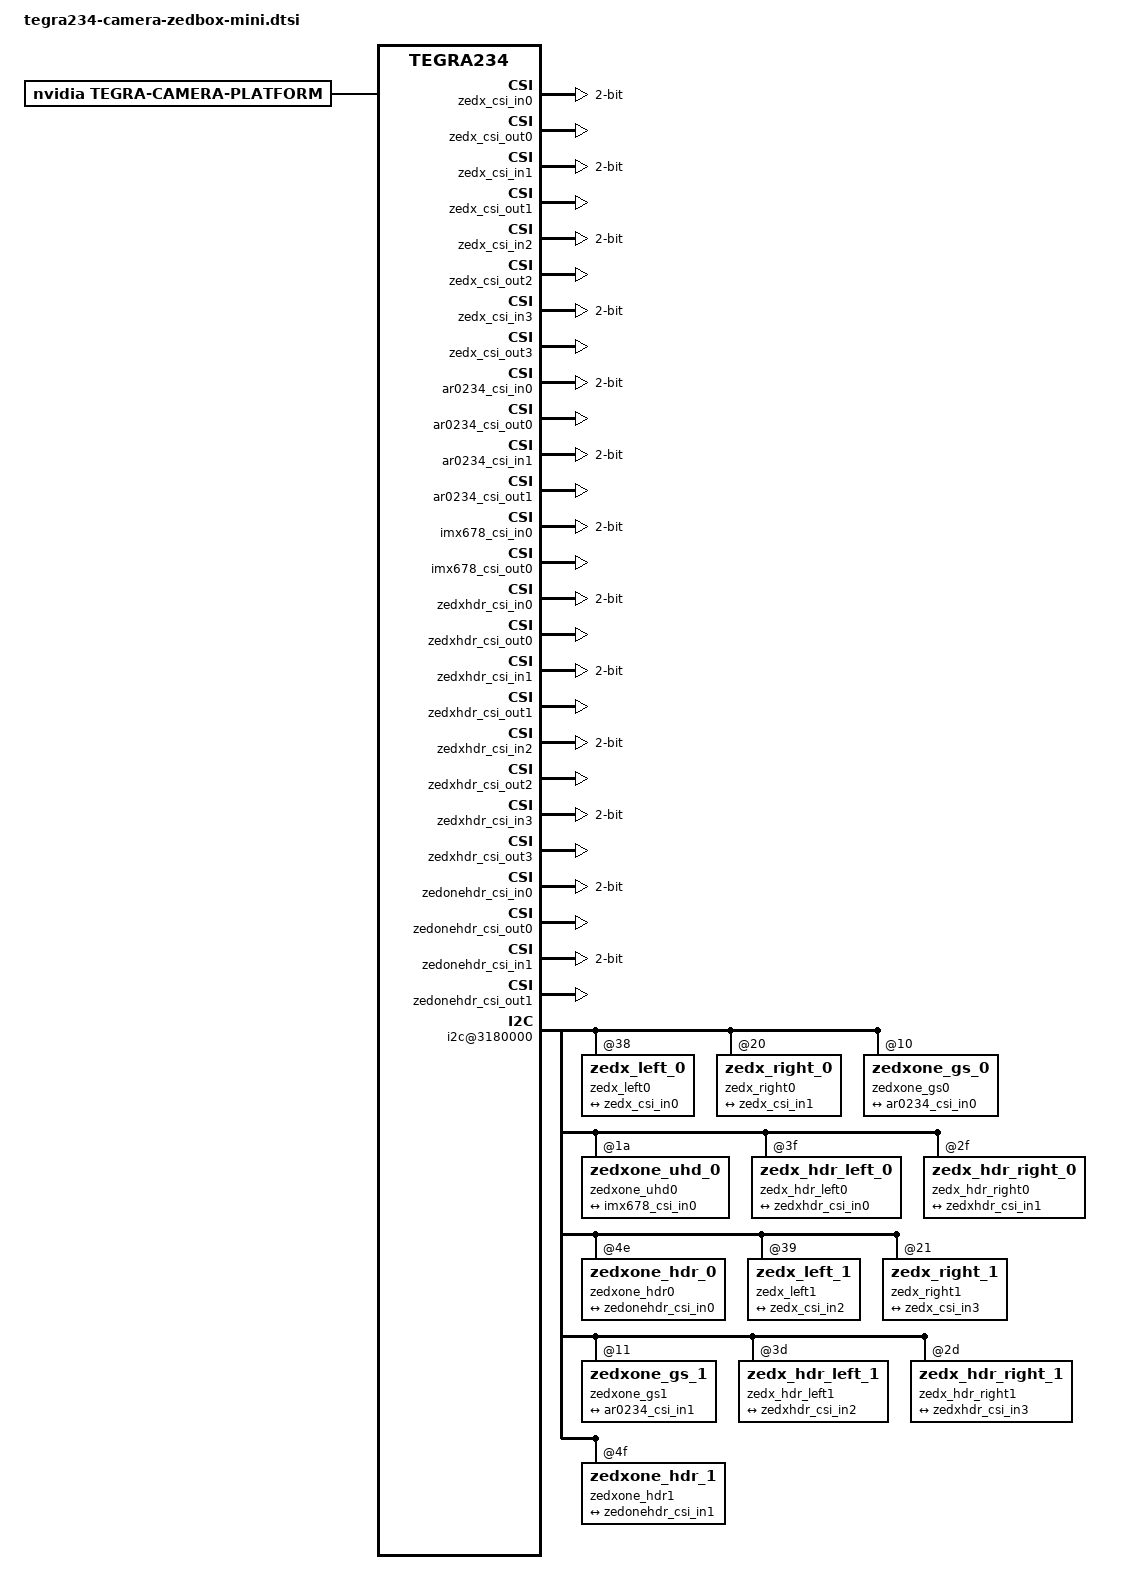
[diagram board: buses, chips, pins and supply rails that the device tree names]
// SPDX-License-Identifier: GPL-2.0-only
// SPDX-FileCopyrightText: Copyright (c) 2023-2024, NVIDIA CORPORATION & AFFILIATES. All rights reserved.

#include "Utils/isx031-sl-modes.dtsi"
#include "Utils/ar0234-sl-modes.dtsi"
#include "Utils/imx678-sl-modes.dtsi"

#define NUM_LANES 2

/ {
#ifdef BUILDOVERLAY
	fragment-camera-zedx-streamer@0 {
		target-path = "/";
		__overlay__ {
#endif
			tegra-capture-vi {
				num-channels = <13>;
				ports {
					#address-cells = <1>;
					#size-cells = <0>;
					port@0 {
						reg = <0>;
						status = "okay";
						zedx_vi_in0: endpoint {
							status = "okay";
							vc-id = <0>;
							port-index = <0>;
							bus-width = <NUM_LANES>;
							remote-endpoint = <&zedx_csi_out0>;
						};
					};
					port@1 {
						reg = <1>;
						status = "okay";
						zedx_vi_in1: endpoint {
							status = "okay";
							vc-id = <1>;
							port-index = <0>;
							bus-width = <NUM_LANES>;
							remote-endpoint = <&zedx_csi_out1>;
						};
					};
					port@2 {
						reg = <2>;
						status = "okay";
						zedx_vi_in2: endpoint {
							status = "okay";
							vc-id = <0>;
							port-index = <2>;
							bus-width = <NUM_LANES>;
							remote-endpoint = <&zedx_csi_out2>;
						};
					};
					port@3 {
						reg = <3>;
						status = "okay";
						zedx_vi_in3: endpoint {
							status = "okay";
							vc-id = <1>;
							port-index = <2>;
							bus-width = <NUM_LANES>;
							remote-endpoint = <&zedx_csi_out3>;
						};
					};
					port@4 {
						reg = <4>;
						status = "okay";
						ar0234_vi_in0: endpoint {
							status = "okay";
							vc-id = <0>;
							port-index = <0>;
							bus-width = <NUM_LANES>;
							remote-endpoint = <&ar0234_csi_out0>;
						};
					};
					port@5 {
						reg = <5>;
						status = "okay";
						ar0234_vi_in1: endpoint {
							status = "okay";
							vc-id = <0>;
							port-index = <2>;
							bus-width = <NUM_LANES>;
							remote-endpoint = <&ar0234_csi_out1>;
						};
					};
					port@6 {
						reg = <6>;
						status = "okay";
						imx678_vi_in0: endpoint {
							status = "okay";
							vc-id = <0>;
							port-index = <0>;
							bus-width = <NUM_LANES>;
							remote-endpoint = <&imx678_csi_out0>;
						};
					};
					port@7 {
						reg = <7>;
						status = "okay";
						zedxhdr_vi_in0: endpoint {
							status = "okay";
							vc-id = <0>;
							port-index = <0>;
							bus-width = <NUM_LANES>;
							remote-endpoint = <&zedxhdr_csi_out0>;
						};
					};
					port@8 {
						reg = <8>;
						status = "okay";
						zedxhdr_vi_in1: endpoint {
							status = "okay";
							vc-id = <1>;
							port-index = <0>;
							bus-width = <NUM_LANES>;
							remote-endpoint = <&zedxhdr_csi_out1>;
						};
					};
					port@9 {
						reg = <9>;
						status = "okay";
						zedxhdr_vi_in2: endpoint {
							status = "okay";
							vc-id = <0>;
							port-index = <2>;
							bus-width = <NUM_LANES>;
							remote-endpoint = <&zedxhdr_csi_out2>;
						};
					};
					port@10 {
						reg = <10>;
						status = "okay";
						zedxhdr_vi_in3: endpoint {
							status = "okay";
							vc-id = <1>;
							port-index = <2>;
							bus-width = <NUM_LANES>;
							remote-endpoint = <&zedxhdr_csi_out3>;
						};
					};
					port@11 {
						reg = <11>;
						status = "okay";
						zedonehdr_vi_in0: endpoint {
							status = "okay";
							vc-id = <0>;
							port-index = <0>;
							bus-width = <NUM_LANES>;
							remote-endpoint = <&zedonehdr_csi_out0>;
						};
					};
					port@12 {
						reg = <12>;
						status = "okay";
						zedonehdr_vi_in1: endpoint {
							status = "okay";
							vc-id = <0>;
							port-index = <2>;
							bus-width = <NUM_LANES>;
							remote-endpoint = <&zedonehdr_csi_out1>;
						};
					};
					
				};
			};
			bus@0 {
				host1x@13e00000 {
					nvcsi@15a00000 {
						num-channels = <13>;
						#address-cells = <1>;
						#size-cells = <0>;
						channel@0 {
							reg = <0>;
							status = "okay";
							ports {
								#address-cells = <1>;
								#size-cells = <0>;
								port@0 {
									reg = <0>;
									status = "okay";
									zedx_csi_in0: endpoint@0 {
										status = "okay";
										port-index = <0>;
										bus-width = <NUM_LANES>;
										remote-endpoint = <&zedx_ar0234_out0>;
									};
								};
								port@1 {
									reg = <1>;
									status = "okay";
									zedx_csi_out0: endpoint@1 {
										status = "okay";
										remote-endpoint = <&zedx_vi_in0>;
									};
								};
							};
						};
						channel@1 {
							reg = <1>;
							status = "okay";
							ports {
								#address-cells = <1>;
								#size-cells = <0>;
								port@0 {
									reg = <0>;
									status = "okay";
									zedx_csi_in1: endpoint@2 {
										status = "okay";
										port-index = <0>;
										bus-width = <NUM_LANES>;
										remote-endpoint = <&zedx_ar0234_out1>;
									};
								};
								port@1 {
									reg = <1>;
									status = "okay";
									zedx_csi_out1: endpoint@3 {
										status = "okay";
										remote-endpoint = <&zedx_vi_in1>;
									};
								};
							};
						};
						channel@2 {
							reg = <2>;
							status = "okay";
							ports {
								#address-cells = <1>;
								#size-cells = <0>;
								port@0 {
									reg = <0>;
									status = "okay";
									zedx_csi_in2: endpoint@4 {
										status = "okay";
										port-index = <2>;
										bus-width = <NUM_LANES>;
										remote-endpoint = <&zedx_ar0234_out2>;
									};
								};
								port@1 {
									reg = <1>;
									status = "okay";
									zedx_csi_out2: endpoint@5 {
										status = "okay";
										remote-endpoint = <&zedx_vi_in2>;
									};
								};
							};
						};
						channel@3 {
							reg = <3>;
							status = "okay";
							ports {
								#address-cells = <1>;
								#size-cells = <0>;
								port@0 {
									reg = <0>;
									status = "okay";
									zedx_csi_in3: endpoint@6 {
										status = "okay";
										port-index = <2>;
										bus-width = <NUM_LANES>;
										remote-endpoint = <&zedx_ar0234_out3>;
									};
								};
								port@1 {
									reg = <1>;
									status = "okay";
									zedx_csi_out3: endpoint@7 {
										status = "okay";
										remote-endpoint = <&zedx_vi_in3>;
									};
								};
							};
						};
						channel@4 {
							reg = <4>;
							status = "okay";
							ports {
								#address-cells = <1>;
								#size-cells = <0>;
								port@0 {
									reg = <0>;
									status = "okay";
									ar0234_csi_in0: endpoint@8 {
										status = "okay";
										port-index = <0>;
										bus-width = <NUM_LANES>;
										remote-endpoint = <&ar0234_ar0234_out0>;
									};
								};
								port@1 {
									reg = <1>;
									status = "okay";
									ar0234_csi_out0: endpoint@9 {
										status = "okay";
										remote-endpoint = <&ar0234_vi_in0>;
									};
								};
							};
						};
						channel@5 {
							reg = <5>;
							status = "okay";
							ports {
								#address-cells = <1>;
								#size-cells = <0>;
								port@0 {
									reg = <0>;
									status = "okay";
									ar0234_csi_in1: endpoint@10 {
										status = "okay";
										port-index = <2>;
										bus-width = <NUM_LANES>;
										remote-endpoint = <&ar0234_ar0234_out1>;
									};
								};
								port@1 {
									reg = <1>;
									status = "okay";
									ar0234_csi_out1: endpoint@11 {
										status = "okay";
										remote-endpoint = <&ar0234_vi_in1>;
									};
								};
							};
						};
						channel@6 {
							reg = <6>;
							status = "okay";
							ports {
								#address-cells = <1>;
								#size-cells = <0>;
								port@0 {
									reg = <0>;
									status = "okay";
									imx678_csi_in0: endpoint@12 {
										status = "okay";
										port-index = <0>;
										bus-width = <NUM_LANES>;
										remote-endpoint = <&imx678_imx678_out0>;
									};
								};
								port@1 {
									reg = <1>;
									status = "okay";
									imx678_csi_out0: endpoint@13 {
										status = "okay";
										remote-endpoint = <&imx678_vi_in0>;
									};
								};
							};
						};
						channel@7 {
							reg = <7>;
							status = "okay";
							ports {
								#address-cells = <1>;
								#size-cells = <0>;
								port@0 {
									reg = <0>;
									status = "okay";
									zedxhdr_csi_in0: endpoint@14 {
										status = "okay";
										port-index = <0>;
										bus-width = <NUM_LANES>;
										remote-endpoint = <&zedxhdr_isx031_out0>;
									};
								};
								port@1 {
									reg = <1>;
									status = "okay";
									zedxhdr_csi_out0: endpoint@15 {
										status = "okay";
										remote-endpoint = <&zedxhdr_vi_in0>;
									};
								};
							};
						};
						channel@8 {
							reg = <8>;
							status = "okay";
							ports {
								#address-cells = <1>;
								#size-cells = <0>;
								port@0 {
									reg = <0>;
									status = "okay";
									zedxhdr_csi_in1: endpoint@16 {
										status = "okay";
										port-index = <0>;
										bus-width = <NUM_LANES>;
										remote-endpoint = <&zedxhdr_isx031_out1>;
									};
								};
								port@1 {
									reg = <1>;
									status = "okay";
									zedxhdr_csi_out1: endpoint@17 {
										status = "okay";
										remote-endpoint = <&zedxhdr_vi_in1>;
									};
								};
							};
						};
						channel@9 {
							reg = <9>;
							status = "okay";
							ports {
								#address-cells = <1>;
								#size-cells = <0>;
								port@0 {
									reg = <0>;
									status = "okay";
									zedxhdr_csi_in2: endpoint@18 {
										status = "okay";
										port-index = <2>;
										bus-width = <NUM_LANES>;
										remote-endpoint = <&zedxhdr_isx031_out2>;
									};
								};
								port@1 {
									reg = <1>;
									status = "okay";
									zedxhdr_csi_out2: endpoint@19 {
										status = "okay";
										remote-endpoint = <&zedxhdr_vi_in2>;
									};
								};
							};
						};
						channel@10 {
							reg = <10>;
							status = "okay";
							ports {
								#address-cells = <1>;
								#size-cells = <0>;
								port@0 {
									reg = <0>;
									status = "okay";
									zedxhdr_csi_in3: endpoint@20 {
										status = "okay";
										port-index = <2>;
										bus-width = <NUM_LANES>;
										remote-endpoint = <&zedxhdr_isx031_out3>;
									};
								};
								port@1 {
									reg = <1>;
									status = "okay";
									zedxhdr_csi_out3: endpoint@21 {
										status = "okay";
										remote-endpoint = <&zedxhdr_vi_in3>;
									};
								};
							};
						};
						channel@11 {
							reg = <11>;
							status = "okay";
							ports {
								#address-cells = <1>;
								#size-cells = <0>;
								port@0 {
									reg = <0>;
									status = "okay";
									zedonehdr_csi_in0: endpoint@22 {
										status = "okay";
										port-index = <0>;
										bus-width = <NUM_LANES>;
										remote-endpoint = <&zedonehdr_isx031_out0>;
									};
								};
								port@1 {
									reg = <1>;
									status = "okay";
									zedonehdr_csi_out0: endpoint@23 {
										status = "okay";
										remote-endpoint = <&zedonehdr_vi_in0>;
									};
								};
							};
						};
						channel@12 {
							reg = <12>;
							status = "okay";
							ports {
								#address-cells = <1>;
								#size-cells = <0>;
								port@0 {
									reg = <0>;
									status = "okay";
									zedonehdr_csi_in1: endpoint@24 {
										status = "okay";
										port-index = <2>;
										bus-width = <NUM_LANES>;
										remote-endpoint = <&zedonehdr_isx031_out1>;
									};
								};
								port@1 {
									reg = <1>;
									status = "okay";
									zedonehdr_csi_out1: endpoint@25 {
										status = "okay";
										remote-endpoint = <&zedonehdr_vi_in1>;
									};
								};
							};
						};
					};
				};
				
				i2c@3180000{
					/* ZEDX 0 left camera sensor */
					zedx_left0: zedx_left_0@38 {
						
						devnode = "video0";
						
						/* ZED SDK related variables */
						sync_sensor = "ZED_CAM0";
						sync_sensor_index = <1>;
						
						AR0234_MODES("0", "serial_a", "6")
						
						ports {
							#address-cells = <1>;
							#size-cells = <0>;
							port@0 {
								reg = <0>;
								zedx_ar0234_out0: endpoint {
									vc-id = <0>;
									port-index = <0>;
									opt-csi-port = "a";
									bus-width = <NUM_LANES>;
									remote-endpoint = <&zedx_csi_in0>;
								};
							};
						};
					};
					
					/* ZEDX 0 right camera sensor */
					zedx_right0: zedx_right_0@20 {
						
						devnode = "video1";
						
						/* ZED SDK related variables */
						sync_sensor = "ZED_CAM0";
						sync_sensor_index = <2>;
						
						AR0234_MODES("1", "serial_a", "6")
						
						ports {
							#address-cells = <1>;
							#size-cells = <0>;
							port@0 {
								reg = <0>;
								zedx_ar0234_out1: endpoint {
									vc-id = <1>;
									port-index = <0>;
									opt-csi-port = "a";
									bus-width = <NUM_LANES>;
									remote-endpoint = <&zedx_csi_in1>;
								};
							};
						};
					};
					
					/* ZEDX One GS 0 camera sensor*/
					zedxone_gs0:zedxone_gs_0@10 {
						
						devnode = "video2";
						
						/* ZED SDK related variables */
						sync_sensor = "ZEDXONE_CAM0";
						sync_sensor_index = <1>;
						
						AR0234_MODES("0", "serial_a", "6")
						
						ports {
							#address-cells = <1>;
							#size-cells = <0>;
							port@0 {
								reg = <0>;
								ar0234_ar0234_out0: endpoint {
									vc-id = <0>;
									port-index = <0>;
									opt-csi-port = "a";
									bus-width = <NUM_LANES>;
									remote-endpoint = <&ar0234_csi_in0>;
								};
							};
						};
					};
					
					/* ZEDX One UHD 0 camera sensor */
					zedxone_uhd0:zedxone_uhd_0@1a {
						
						devnode = "video3";
						
						/* ZED SDK related variables */
						sync_sensor = "ZEDXONE_CAM1";
						sync_sensor_index = <1>;
						
						IMX678_MODES("0", "serial_a", "6")
						
						ports {
							#address-cells = <1>;
							#size-cells = <0>;
							port@0 {
								reg = <0>;
								imx678_imx678_out0: endpoint {
									vc-id = <0>;
									port-index = <0>;
									opt-csi-port = "a";
									bus-width = <NUM_LANES>;
									remote-endpoint = <&imx678_csi_in0>;
								};
							};
						};
					};
					
					zedx_hdr_left0: zedx_hdr_left_0@3f {
						
						devnode = "video4";
						
						/* ZED SDK related variables */
						sync_sensor = "ZED_CAM1";
						sync_sensor_index = <1>;
						
						ISX031_MODES("0", "serial_a", "6")
						
						ports {
							#address-cells = <1>;
							#size-cells = <0>;
							port@0 {
								reg = <0>;
								zedxhdr_isx031_out0: endpoint {
									vc-id = <0>;
									port-index = <0>;
									opt-csi-port = "a";
									bus-width = <NUM_LANES>;
									remote-endpoint = <&zedxhdr_csi_in0>;
								};
							};
						};
					};
					
					zedx_hdr_right0: zedx_hdr_right_0@2f {
						
						devnode = "video5";
						
						/* ZED SDK related variables */
						sync_sensor = "ZED_CAM1";
						sync_sensor_index = <2>;
						
						ISX031_MODES("1", "serial_a", "6")
						
						ports {
							#address-cells = <1>;
							#size-cells = <0>;
							port@0 {
								reg = <0>;
								zedxhdr_isx031_out1: endpoint {
									vc-id = <1>;
									port-index = <0>;
									opt-csi-port = "a";
									bus-width = <NUM_LANES>;
									remote-endpoint = <&zedxhdr_csi_in1>;
								};
							};
						};
					};
					
					zedxone_hdr0: zedxone_hdr_0@4e {
						
						devnode = "video6";
						
						/* ZED SDK related variables */
						sync_sensor = "ZEDXONE_CAM2";
						sync_sensor_index = <1>;
						
						ISX031_MODES("0", "serial_a", "6")
						
						ports {
							#address-cells = <1>;
							#size-cells = <0>;
							port@0 {
								reg = <0>;
								zedonehdr_isx031_out0: endpoint {
									vc-id = <0>;
									opt-csi-port = "a";
									port-index = <0>;
									bus-width = <NUM_LANES>;
									remote-endpoint = <&zedonehdr_csi_in0>;
								};
							};
						};
					};
					
					/* ZEDX 1 left camera sensor */
					zedx_left1: zedx_left_1@39 {
						
						devnode = "video7";
						
						/* ZED SDK related variables */
						sync_sensor = "ZED_CAM2";
						sync_sensor_index = <1>;
						
						AR0234_MODES("0", "serial_c", "0")
						
						ports {
							#address-cells = <1>;
							#size-cells = <0>;
							port@0 {
								reg = <0>;
								zedx_ar0234_out2: endpoint {
									vc-id = <0>;
									port-index = <2>;
									opt-csi-port = "b";
									bus-width = <NUM_LANES>;
									remote-endpoint = <&zedx_csi_in2>;
								};
							};
						};
					};
					
					/* ZEDX 1 right camera sensor */
					zedx_right1: zedx_right_1@21 {
						
						devnode = "video8";
						
						/* ZED SDK related variables */
						sync_sensor = "ZED_CAM2";
						sync_sensor_index = <2>;
						
						AR0234_MODES("1", "serial_c", "0")
						
						ports {
							#address-cells = <1>;
							#size-cells = <0>;
							port@0 {
								reg = <0>;
								zedx_ar0234_out3: endpoint {
									vc-id = <1>;
									port-index = <2>;
									opt-csi-port = "b";
									bus-width = <NUM_LANES>;
									remote-endpoint = <&zedx_csi_in3>;
								};
							};
						};
					};
					
					/* ZEDX One GS 0 camera sensor*/
					zedxone_gs1:zedxone_gs_1@11 {
						
						devnode = "video9";
						
						/* ZED SDK related variables */
						sync_sensor = "ZEDXONE_CAM3";
						sync_sensor_index = <1>;
						
						AR0234_MODES("0", "serial_c", "0")
						
						ports {
							#address-cells = <1>;
							#size-cells = <0>;
							port@0 {
								reg = <0>;
								ar0234_ar0234_out1: endpoint {
									vc-id = <0>;
									port-index = <2>;
									opt-csi-port = "b";
									bus-width = <NUM_LANES>;
									remote-endpoint = <&ar0234_csi_in1>;
								};
							};
						};
					};

					zedx_hdr_left1: zedx_hdr_left_1@3d {
						
						devnode = "video10";
						
						/* ZED SDK related variables */
						sync_sensor = "ZED_CAM3";
						sync_sensor_index = <1>;
						
						ISX031_MODES("0", "serial_c", "0")
						
						ports {
							#address-cells = <1>;
							#size-cells = <0>;
							port@0 {
								reg = <0>;
								zedxhdr_isx031_out2: endpoint {
									vc-id = <0>;
									port-index = <2>;
									opt-csi-port = "b";
									bus-width = <NUM_LANES>;
									remote-endpoint = <&zedxhdr_csi_in2>;
								};
							};
						};
					};
					
					zedx_hdr_right1: zedx_hdr_right_1@2d {
												
						devnode = "video11";

						/* ZED SDK related variables */
						sync_sensor = "ZED_CAM3";
						sync_sensor_index = <2>;
						
						ISX031_MODES("1", "serial_c", "0")
						
						ports {
							#address-cells = <1>;
							#size-cells = <0>;
							port@0 {
								reg = <0>;
								zedxhdr_isx031_out3: endpoint {
									vc-id = <1>;
									port-index = <2>;
									opt-csi-port = "b";
									bus-width = <NUM_LANES>;
									remote-endpoint = <&zedxhdr_csi_in3>;
								};
							};
						};
					};


					zedxone_hdr1: zedxone_hdr_1@4f {
						
						devnode = "video12";
						
						/* ZED SDK related variables */
						sync_sensor = "ZEDXONE_CAM5";
						sync_sensor_index = <1>;
						
						ISX031_MODES("0", "serial_c", "0")
						
						ports {
							#address-cells = <1>;
							#size-cells = <0>;
							port@0 {
								reg = <0>;
								zedonehdr_isx031_out1: endpoint {
									vc-id = <0>;
									port-index = <2>;
									opt-csi-port = "b";
									bus-width = <NUM_LANES>;
									remote-endpoint = <&zedonehdr_csi_in1>;
								};
							};
						};
					};
				};
			};
			
			tegra-camera-platform {
				compatible = "nvidia, tegra-camera-platform";
				/**
				* Physical settings to calculate max ISO BW
				*
				* num_csi_lanes = <>;
				* Total number of CSI lanes when all cameras are active
				*
				* max_lane_speed = <>;
				* Max lane speed in Kbit/s
				*
				* min_bits_per_pixel = <>;
				* Min bits per pixel
				*
				* vi_peak_byte_per_pixel = <>;
				* Max byte per pixel for the VI ISO case
				*
				* vi_bw_margin_pct = <>;
				* Vi bandwidth margin in percentage
				*
				* max_pixel_rate = <>;
				* Max pixel rate in Kpixel/s for the ISP ISO case
				*
				* isp_peak_byte_per_pixel = <>;
				* Max byte per pixel for the ISP ISO case
				*
				* isp_bw_margin_pct = <>;
				* Isp bandwidth margin in percentage
				*/
				
				num_csi_lanes = <8>;
				max_lane_speed = <2000000>;
				min_bits_per_pixel = <8>;
				vi_peak_byte_per_pixel = <2>;
				vi_bw_margin_pct = <25>;
				isp_peak_byte_per_pixel = <5>;
				isp_bw_margin_pct = <25>;
				
				/**
				* The general guideline for naming badge_info contains 3 parts, and is as follows,
				* The first part is the camera_board_id for the module; if the module is in a FFD
				* platform, then use the platform name for this part.
				* The second part contains the position of the module, ex. "rear" or "front".
				* The third part contains the last 6 characters of a part number which is found
				* in the module's specsheet from the vender.
				*/
				modules {
					module0 {
						badge = "zedx_ar0234";
						position = "front";
						orientation = "1";
						status = "okay";
						drivernode0 {
							status = "okay";
							/* Declare PCL support driver (classically known as guid)  */
							pcl_id = "v4l2_sensor";
							/* Declare the device-tree hierarchy to driver instance */
							sysfs-device-tree = "/sys/firmware/devicetree/base/bus@0/i2c@3180000/zedx_left_0@38";
						};
					};
					module1 {
						badge = "zedx_ar0234";
						position = "front";
						orientation = "1";
						status = "okay";
						drivernode0 {
							status = "okay";
							/* Declare PCL support driver (classically known as guid)  */
							pcl_id = "v4l2_sensor";
							/* Declare the device-tree hierarchy to driver instance */
							sysfs-device-tree = "/sys/firmware/devicetree/base/bus@0/i2c@3180000/zedx_right_0@20";
						};
					};
					module2 {
						badge = "zedx_ar0234";
						position = "front";
						orientation = "1";
						status = "okay";
						drivernode0 {
							status = "okay";
							/* Declare PCL support driver (classically known as guid)  */
							pcl_id = "v4l2_sensor";
							/* Declare the device-tree hierarchy to driver instance */
							sysfs-device-tree = "/sys/firmware/devicetree/base/bus@0/i2c@3180000/zedx_left_1@39";
						};
					};
					module3 {
						badge = "zedx_ar0234";
						position = "front";
						orientation = "1";
						status = "okay";
						drivernode0 {
							status = "okay";
							/* Declare PCL support driver (classically known as guid)  */
							pcl_id = "v4l2_sensor";
							/* Declare the device-tree hierarchy to driver instance */
							sysfs-device-tree = "/sys/firmware/devicetree/base/bus@0/i2c@3180000/zedx_right_1@21";
						};
					};
					module4 {
						badge = "zedx_ar0234";
						position = "front";
						orientation = "1";
						status = "okay";
						drivernode0 {
							status = "okay";
							/* Declare PCL support driver (classically known as guid)  */
							pcl_id = "v4l2_sensor";
							/* Declare the device-tree hierarchy to driver instance */
							sysfs-device-tree = "/sys/firmware/devicetree/base/bus@0/i2c@3180000/zedxone_gs_0@10";
						};
					};
					module5 {
						badge = "zedx_ar0234";
						position = "front";
						orientation = "1";
						status = "okay";
						drivernode0 {
							status = "okay";
							/* Declare PCL support driver (classically known as guid)  */
							pcl_id = "v4l2_sensor";
							/* Declare the device-tree hierarchy to driver instance */
							sysfs-device-tree = "/sys/firmware/devicetree/base/bus@0/i2c@3180000/zedxone_gs_1@11";
						};
					};
					module6 {
						badge = "zedx_imx678";
						position = "front";
						orientation = "1";
						status = "okay";
						drivernode0 {
							status = "okay";
							/* Declare PCL support driver (classically known as guid)  */
							pcl_id = "v4l2_sensor";
							/* Declare the device-tree hierarchy to driver instance */
							sysfs-device-tree = "/sys/firmware/devicetree/base/bus@0/i2c@3180000/zedxone_uhd_0@1a";
						};
					};
				};
			};
#ifdef BUILDOVERLAY
		};
	};
#endif
};
